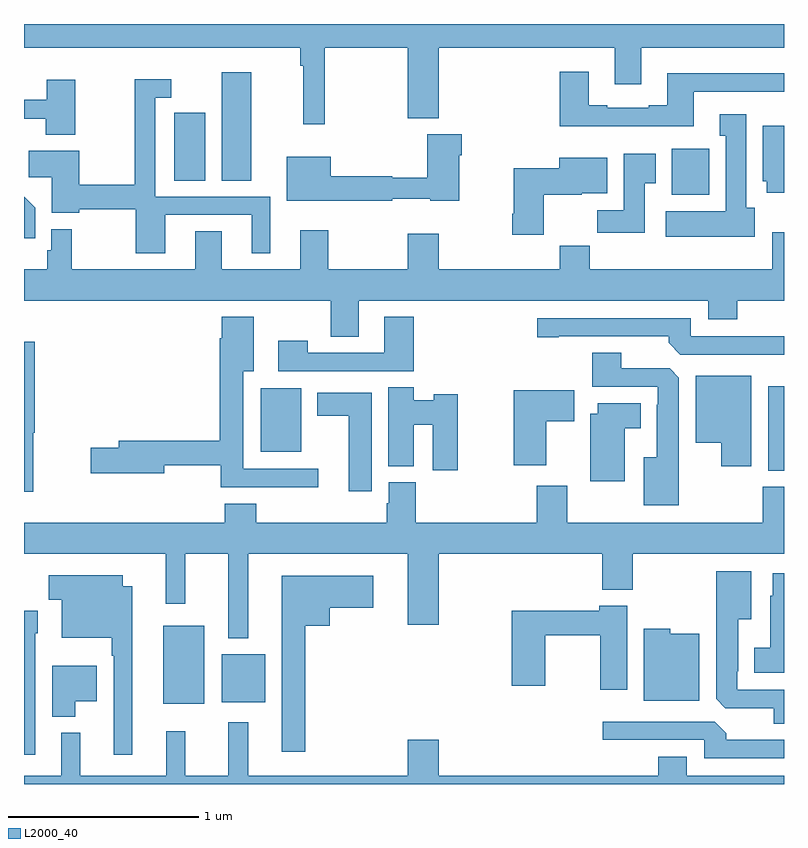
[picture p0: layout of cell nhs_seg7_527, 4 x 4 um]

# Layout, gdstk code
import gdstk
lib = gdstk.Library(unit=1e-6, precision=1e-09)
def R(c, l, rs):  # rectangles x0, y0, x1, y1
    for r in rs: c.add(gdstk.rectangle(r[:2], r[2:], *l))
def P(c, l, *ps):  # polygons
    for p in ps: c.add(gdstk.Polygon(p, *l))
L2000_40 = (2000, 40)

nhs_seg7_527 = lib.new_cell('nhs_seg7_527')
R(nhs_seg7_527, L2000_40, [(151.733,1070.423,151.948,1070.833), (152.042,1070.429,152.269,1070.683), (154.916,1071.65,155,1072.093), (152.246,1071.749,152.458,1072.084), (154.409,1073.102,154.606,1073.344), (151.79,1073.176,151.954,1073.533), (152.042,1073.176,152.197,1073.746)])
P(nhs_seg7_527, L2000_40, [(152.584,1073.876),(153.02,1073.876),(153.02,1073.504),(153.184,1073.504),(153.184,1073.876),(154.109,1073.876),(154.109,1073.682),(154.249,1073.682),(154.249,1073.876),(155,1073.876),(155,1074),(151,1074),(151,1073.876),(152.455,1073.876),(152.455,1073.78),(152.47,1073.78),(152.47,1073.472),(152.584,1073.472)],
  [(154.525,1073.643),(155,1073.643),(155,1073.74),(154.385,1073.74),(154.385,1073.572),(154.289,1073.572),(154.289,1073.559),(154.069,1073.559),(154.069,1073.572),(153.973,1073.572),(153.973,1073.749),(153.821,1073.749),(153.821,1073.462),(154.525,1073.462)],
  [(151.744,1072.995),(152.198,1072.995),(152.198,1072.794),(152.296,1072.794),(152.296,1073.091),(151.692,1073.091),(151.692,1073.613),(151.774,1073.613),(151.774,1073.71),(151.584,1073.71),(151.584,1073.153),(151.29,1073.153),(151.29,1073.332),(151.024,1073.332),(151.024,1073.194),(151.145,1073.194),(151.145,1073.006),(151.29,1073.006),(151.29,1073.025),(151.588,1073.025),(151.588,1072.794),(151.744,1072.794)],
  [(151.269,1073.707),(151.121,1073.707),(151.121,1073.601),(151,1073.601),(151,1073.502),(151.114,1073.502),(151.114,1073.417),(151.269,1073.417)],
  [(154.846,1073.034),(154.801,1073.034),(154.801,1073.524),(154.661,1073.524),(154.661,1073.411),(154.694,1073.411),(154.694,1073.014),(154.377,1073.014),(154.377,1072.88),(154.846,1072.88)],
  [(155,1073.464),(154.889,1073.464),(154.889,1073.172),(154.91,1073.172),(154.91,1073.112),(155,1073.112)],
  [(152.71,1073.07),(152.938,1073.07),(152.938,1073.081),(153.138,1073.081),(153.138,1073.069),(153.292,1073.069),(153.292,1073.309),(153.305,1073.309),(153.305,1073.419),(153.122,1073.419),(153.122,1073.191),(152.938,1073.191),(152.938,1073.198),(152.614,1073.198),(152.614,1073.302),(152.384,1073.302),(152.384,1073.069),(152.71,1073.069)],
  [(154.267,1073.161),(154.324,1073.161),(154.324,1073.317),(154.157,1073.317),(154.157,1073.02),(154.018,1073.02),(154.018,1072.902),(154.267,1072.902)],
  [(153.736,1073.102),(153.936,1073.102),(153.936,1073.108),(154.069,1073.108),(154.069,1073.296),(153.818,1073.296),(153.818,1073.242),(153.578,1073.242),(153.578,1073.002),(153.571,1073.002),(153.571,1072.89),(153.736,1072.89)],
  [(151.058,1073.034),(151,1073.092),(151,1072.872),(151.058,1072.872)],
  [(152.761,1072.544),(154.601,1072.544),(154.601,1072.445),(154.754,1072.445),(154.754,1072.544),(155,1072.544),(155,1072.903),(154.937,1072.903),(154.937,1072.708),(153.977,1072.708),(153.977,1072.832),(153.821,1072.832),(153.821,1072.708),(153.184,1072.708),(153.184,1072.897),(153.02,1072.897),(153.02,1072.708),(152.601,1072.708),(152.601,1072.915),(152.453,1072.915),(152.453,1072.708),(152.041,1072.708),(152.041,1072.91),(151.901,1072.91),(151.901,1072.708),(151.252,1072.708),(151.252,1072.921),(151.143,1072.921),(151.143,1072.809),(151.123,1072.809),(151.123,1072.708),(151,1072.708),(151,1072.544),(152.614,1072.544),(152.614,1072.354),(152.761,1072.354)],
  [(152.548,1071.66),(152.155,1071.66),(152.155,1072.172),(152.209,1072.172),(152.209,1072.459),(152.042,1072.459),(152.042,1072.346),(152.03,1072.346),(152.03,1071.806),(151.499,1071.806),(151.499,1071.77),(151.35,1071.77),(151.35,1071.635),(151.738,1071.635),(151.738,1071.678),(152.035,1071.678),(152.035,1071.563),(152.548,1071.563)],
  [(153.05,1072.459),(152.897,1072.459),(152.897,1072.269),(152.493,1072.269),(152.493,1072.333),(152.337,1072.333),(152.337,1072.173),(153.05,1072.173)],
  [(155,1072.356),(154.509,1072.356),(154.509,1072.452),(153.702,1072.452),(153.702,1072.351),(153.814,1072.351),(153.814,1072.356),(154.394,1072.356),(154.394,1072.322),(154.455,1072.26),(155,1072.26)],
  [(151.049,1071.849),(151.057,1071.849),(151.057,1072.328),(151,1072.328),(151,1071.537),(151.049,1071.537)],
  [(154.447,1072.139),(154.398,1072.188),(154.144,1072.188),(154.144,1072.271),(153.992,1072.271),(153.992,1072.092),(154.335,1072.092),(154.335,1071.995),(154.331,1071.995),(154.331,1071.721),(154.262,1071.721),(154.262,1071.467),(154.447,1071.467)],
  [(154.828,1072.15),(154.535,1072.15),(154.535,1071.797),(154.67,1071.797),(154.67,1071.672),(154.828,1071.672)],
  [(153.282,1072.052),(153.156,1072.052),(153.156,1072.021),(153.052,1072.021),(153.052,1072.088),(152.918,1072.088),(152.918,1071.673),(153.052,1071.673),(153.052,1071.892),(153.152,1071.892),(153.152,1071.651),(153.282,1071.651)],
  [(153.748,1071.91),(153.895,1071.91),(153.895,1072.072),(153.578,1072.072),(153.578,1071.677),(153.748,1071.677)],
  [(152.83,1072.06),(152.543,1072.06),(152.543,1071.938),(152.708,1071.938),(152.708,1071.54),(152.83,1071.54)],
  [(154.162,1071.872),(154.246,1071.872),(154.246,1072.003),(154.019,1072.003),(154.019,1071.949),(153.98,1071.949),(153.98,1071.593),(154.162,1071.593)],
  [(152.075,1070.768),(152.179,1070.768),(152.179,1071.212),(153.02,1071.212),(153.02,1070.838),(153.184,1070.838),(153.184,1071.212),(154.043,1071.212),(154.043,1071.023),(154.203,1071.023),(154.203,1071.212),(155,1071.212),(155,1071.565),(154.888,1071.565),(154.888,1071.376),(153.858,1071.376),(153.858,1071.571),(153.698,1071.571),(153.698,1071.376),(153.062,1071.376),(153.062,1071.588),(152.921,1071.588),(152.921,1071.477),(152.909,1071.477),(152.909,1071.376),(152.222,1071.376),(152.222,1071.475),(152.057,1071.475),(152.057,1071.376),(151,1071.376),(151,1071.212),(151.747,1071.212),(151.747,1070.949),(151.848,1070.949),(151.848,1071.212),(152.075,1071.212)],
  [(155,1070.496),(154.755,1070.496),(154.755,1070.593),(154.759,1070.593),(154.759,1070.867),(154.828,1070.867),(154.828,1071.121),(154.643,1071.121),(154.643,1070.449),(154.692,1070.4),(154.946,1070.4),(154.946,1070.317),(155,1070.317)],
  [(155,1071.109),(154.94,1071.109),(154.94,1070.991),(154.928,1070.991),(154.928,1070.716),(154.844,1070.716),(154.844,1070.585),(155,1070.585)],
  [(151.57,1071.04),(151.519,1071.04),(151.519,1071.1),(151.131,1071.1),(151.131,1070.971),(151.199,1070.971),(151.199,1070.771),(151.461,1070.771),(151.461,1070.675),(151.473,1070.675),(151.473,1070.154),(151.57,1070.154)],
  [(152.479,1070.834),(152.608,1070.834),(152.608,1070.927),(152.839,1070.927),(152.839,1071.097),(152.357,1071.097),(152.357,1070.169),(152.479,1070.169)],
  [(154.174,1070.938),(154.028,1070.938),(154.028,1070.911),(153.566,1070.911),(153.566,1070.517),(153.744,1070.517),(153.744,1070.782),(154.033,1070.782),(154.033,1070.496),(154.174,1070.496)],
  [(151.059,1070.793),(151.072,1070.793),(151.072,1070.911),(151,1070.911),(151,1070.154),(151.059,1070.154)],
  [(154.555,1070.791),(154.401,1070.791),(154.401,1070.818),(154.262,1070.818),(154.262,1070.438),(154.555,1070.438)],
  [(151.27,1070.435),(151.384,1070.435),(151.384,1070.623),(151.148,1070.623),(151.148,1070.354),(151.27,1070.354)],
  [(155,1070.232),(154.697,1070.232),(154.697,1070.266),(154.635,1070.328),(154.047,1070.328),(154.047,1070.232),(154.581,1070.232),(154.581,1070.136),(155,1070.136)],
  [(152.075,1070.326),(152.075,1070.044),(151.848,1070.044),(151.848,1070.278),(151.748,1070.278),(151.748,1070.044),(151.295,1070.044),(151.295,1070.269),(151.196,1070.269),(151.196,1070.044),(151,1070.044),(151,1070),(155,1070),(155,1070.044),(154.489,1070.044),(154.489,1070.143),(154.337,1070.143),(154.337,1070.044),(153.184,1070.044),(153.184,1070.233),(153.02,1070.233),(153.02,1070.044),(152.179,1070.044),(152.179,1070.326)])

lib.write_gds('nhs_seg7_527.gds')
